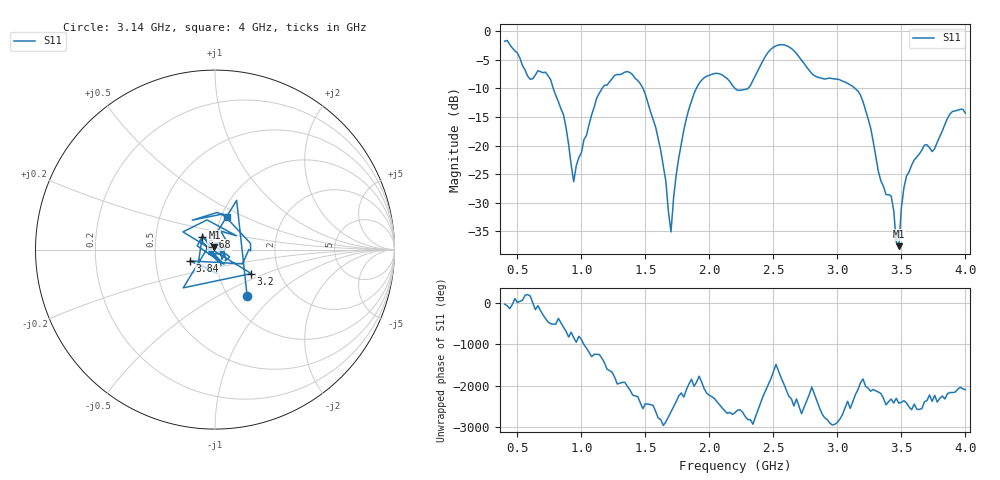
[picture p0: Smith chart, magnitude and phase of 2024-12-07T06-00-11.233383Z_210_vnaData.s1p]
!Created with skrf (http://scikit-rf.org).
# Hz S RI R 50.0
!freq ReS11 ImS11
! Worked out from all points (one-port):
!   181 points, 400 MHz to 4 GHz, reference 50 ohm
!   lowest |S11| = -37.6 dB at 3.48 GHz (marker M1), VSWR 1.03, Z = 49.7 + j1.27 ohm
!   |S11| at or under -10 dB: 779.8 MHz to 1.162 GHz (382.4 MHz wide, 39.4 % of centre); 1.481 GHz to 1.898 GHz (417 MHz wide, 24.7 % of centre); 3.137 GHz to end of sweep (the widest 3 of 4)
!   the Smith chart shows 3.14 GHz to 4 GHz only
!   S11 on the Smith chart (normalised r, x): 3.14 GHz: 1.22, -0.70; 3.2 GHz: 1.44, -0.41; 3.68 GHz: 0.86, +0.12; 3.84 GHz: 0.75, -0.10; 4 GHz: 1.07, +0.40
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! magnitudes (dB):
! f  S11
! 400 MHz  -1.8
! 600 MHz  -8.4
! 720 MHz  -7.2
! 860 MHz  -14.6
! 940 MHz  -26.3
! 1.12 GHz  -11.7
! 1.3 GHz  -7.6
! 1.5 GHz  -11.1
! 1.62 GHz  -20.9
! 1.7 GHz  -35.1
! 1.76 GHz  -22.2
! 1.92 GHz  -9.1
! 2.2 GHz  -10.0
! 2.3 GHz  -10.1
! 2.5 GHz  -2.8
! 2.66 GHz  -3.4
! 3.1 GHz  -9.4
! 3.14 GHz  -10.1
! 3.2 GHz  -12.3
! 3.34 GHz  -26.2
! 3.42 GHz  -28.8
! 3.48 GHz  -37.6
! 3.52 GHz  -27.4
! 3.56 GHz  -24.6
! 3.68 GHz  -19.9
! 3.74 GHz  -21.1
! 3.84 GHz  -16.3
! 4 GHz  -14.3
